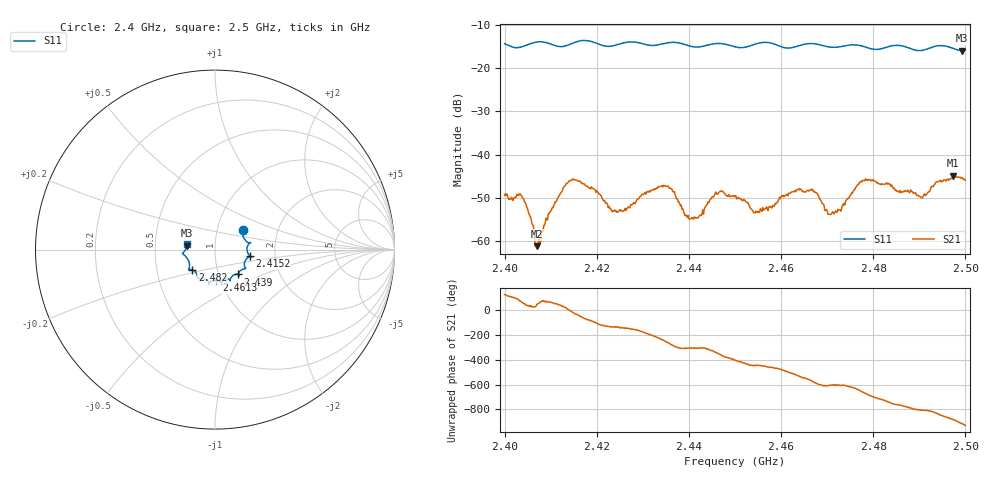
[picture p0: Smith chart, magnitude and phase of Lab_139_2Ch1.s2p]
# Hz S RI R 50
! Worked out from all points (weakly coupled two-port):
!   601 points, 2.4 GHz to 2.5 GHz, reference 50 ohm
!   highest |S21| = -44.92 dB at 2.4973 GHz (marker M1); lowest = -61.2 dB at 2.407 GHz (marker M2)
!   lowest |S11| = -15.9 dB at 2.4993 GHz (marker M3), VSWR 1.38, Z = 36.3 + j1.59 ohm
!   |S11| at or under -10 dB: start of sweep to end of sweep
!   S12 and S22 are empty: the file has one direction only
!   S11 on the Smith chart (normalised r, x): 2.4 GHz: 1.33, +0.31; 2.4152 GHz: 1.48, -0.11; 2.439 GHz: 1.24, -0.36; 2.4613 GHz: 0.96, -0.34; 2.482 GHz: 0.76, -0.18; 2.5 GHz: 0.73, +0.05
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2.4e9  0.1562 0.1118  -0.00209 0.00265  0 0  0 0
2.403833e9  0.1702 0.0503  0.00136 0.0029  0 0  0 0
2.407e9  0.1975 0.0384  0.000571 0.000656  0 0  0 0
2.412833e9  0.1791 -0.00731  0.00368 0.00209  0 0  0 0
2.415167e9  0.195 -0.0365  0.00467 -0.00211  0 0  0 0
2.416667e9  0.2043 -0.0424  0.00283 -0.0037  0 0  0 0
2.424167e9  0.1635 -0.0875  -0.00149 -0.00169  0 0  0 0
2.433333e9  0.132 -0.1322  -0.0032 0.00281  0 0  0 0
2.436333e9  0.1348 -0.1468  0.000636 0.00392  0 0  0 0
2.439e9  0.1283 -0.1386  0.00125 0.00164  0 0  0 0
2.45e9  0.0689 -0.1633  0.00244 -0.00226  0 0  0 0
2.4545e9  0.0352 -0.1873  0.000282 -0.0022  0 0  0 0
2.461333e9  0.0074 -0.1709  -0.00249 -0.00241  0 0  0 0
2.466667e9  -0.0332 -0.1902  -0.00352 0.00189  0 0  0 0
2.470667e9  -0.0497 -0.1682  -0.000893 0.00181  0 0  0 0
2.4775e9  -0.0964 -0.1533  0.00215 0.00434  0 0  0 0
2.482e9  -0.1266 -0.1122  0.00452 -5.99e-05  0 0  0 0
2.483333e9  -0.1398 -0.11  0.00433 -0.00158  0 0  0 0
2.490333e9  -0.1492 -0.0581  0.000138 -0.00323  0 0  0 0
2.497333e9  -0.1694 -0.00813  -0.00537 -0.00185  0 0  0 0
2.499333e9  -0.1584 0.0213  -0.00523 0.00141  0 0  0 0
2.5e9  -0.1581 0.0333  -0.00442 0.00246  0 0  0 0
